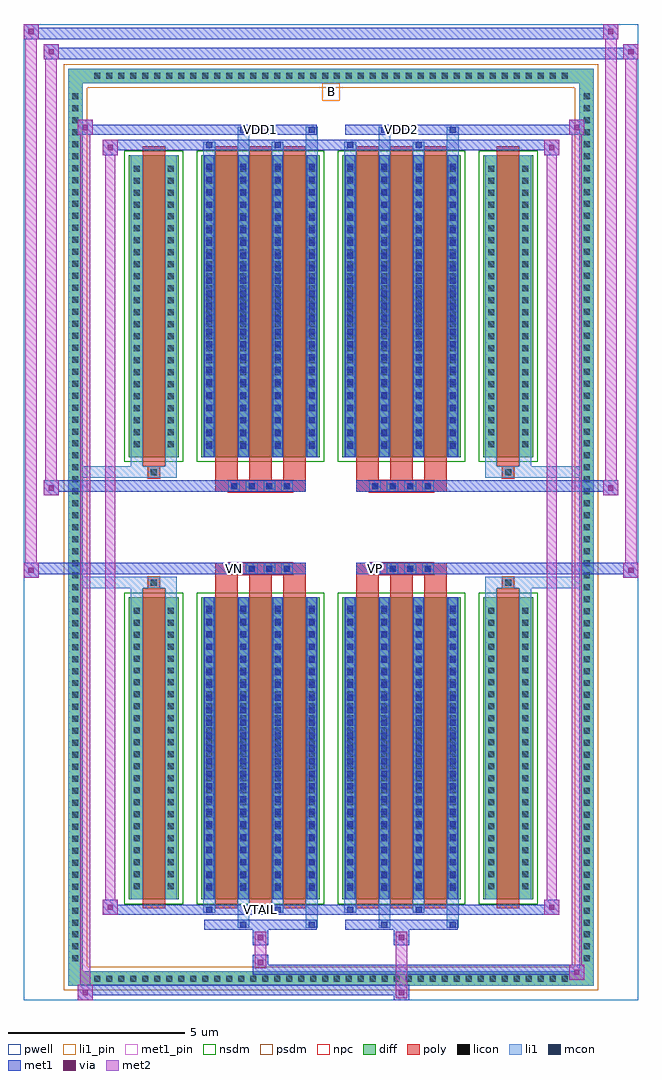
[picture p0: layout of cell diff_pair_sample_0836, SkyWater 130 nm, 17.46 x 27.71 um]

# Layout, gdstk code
import gdstk
lib = gdstk.Library(unit=1e-6, precision=5e-09)
def R(c, l, rs):  # rectangles x0, y0, x1, y1
    for r in rs: c.add(gdstk.rectangle(r[:2], r[2:], *l))
def A(c, l, x, y, w, h, nx, ny, dx, dy):  # array of equal rectangles
    R(c, l, [(x+i*dx, y+j*dy, x+i*dx+w, y+j*dy+h) for i in range(nx) for j in range(ny)])
def P(c, l, *ps):  # polygons
    for p in ps: c.add(gdstk.Polygon(p, *l))
pwell = (64, 44)
diff = (65, 20)
poly = (66, 20)
licon = (66, 44)
li1_pin = (67, 16)
li1 = (67, 20)
mcon = (67, 44)
met1_pin = (68, 16)
met1 = (68, 20)
via = (68, 44)
met2 = (69, 20)
nsdm = (93, 44)
psdm = (94, 20)
npc = (95, 20)

diff_pair_sample_0836 = lib.new_cell('diff_pair_sample_0836')
R(diff_pair_sample_0836, pwell, [(-8.73,-13.42,8.73,14.29), (-6.05,-11.61,-0.01,-0.805), (0.01,-11.61,6.05,-0.805), (-6.05,0.805,-0.01,11.61), (0.01,0.805,6.05,11.61)])
A(diff_pair_sample_0836, diff, -6.835, -13.02, 0.41, 0.41, 40, 2, 0.34, 25.63)
A(diff_pair_sample_0836, diff, -7.46, -12.445, 0.41, 0.41, 1, 73, 0, 0.34)
A(diff_pair_sample_0836, diff, 7.05, -12.445, 0.41, 0.41, 1, 73, 0, 0.34)
R(diff_pair_sample_0836, diff, [(-6.835,-13.02,6.835,-12.61), (-7.46,-12.445,-7.05,12.445), (7.05,-12.445,7.46,12.445), (-5.74,-10.565,-4.32,-1.985), (-3.68,-10.565,-0.32,-1.985), (0.32,-10.565,3.68,-1.985), (4.32,-10.565,5.74,-1.985), (-5.74,1.985,-4.32,10.565), (-3.68,1.985,-0.32,10.565), (0.32,1.985,3.68,10.565), (4.32,1.985,5.74,10.565), (-6.835,12.61,6.835,13.02)])
P(diff_pair_sample_0836, diff, [(7.46,13.02),(-7.46,13.02),(-7.46,-12.61),(-7.05,-12.61),(-7.05,12.61),(7.05,12.61),(7.05,-12.61),(-7.05,-12.61),(-7.46,-12.61),(-7.46,-13.02),(7.46,-13.02)])
A(diff_pair_sample_0836, poly, -3.29, -10.815, 0.64, 9.08, 3, 2, 0.97, 12.55)
A(diff_pair_sample_0836, poly, 0.71, -10.815, 0.64, 9.08, 3, 2, 0.97, 12.55)
A(diff_pair_sample_0836, poly, -3.29, -1.735, 0.64, 0.4, 3, 2, 0.97, 3.07)
A(diff_pair_sample_0836, poly, 0.71, -1.735, 0.64, 0.4, 3, 2, 0.97, 3.07)
A(diff_pair_sample_0836, poly, -2.915, -1.335, 0.33, 0.33, 4, 2, 0.5, 2.34)
A(diff_pair_sample_0836, poly, 1.085, -1.335, 0.33, 0.33, 4, 2, 0.5, 2.34)
R(diff_pair_sample_0836, poly, [(-5.35,-10.815,-4.71,-1.735), (4.71,-10.815,5.35,-1.735), (-5.195,-1.735,-4.865,-1.405), (-5.195,-1.735,-4.865,-1.405), (4.865,-1.735,5.195,-1.405), (4.865,-1.735,5.195,-1.405), (-3.29,-1.335,-0.71,-1.005), (0.71,-1.335,3.29,-1.005), (-3.29,1.005,-0.71,1.335), (0.71,1.005,3.29,1.335), (-5.195,1.405,-4.865,1.735), (-5.195,1.405,-4.865,1.735), (4.865,1.405,5.195,1.735), (4.865,1.405,5.195,1.735), (-5.35,1.735,-4.71,10.815), (4.71,1.735,5.35,10.815)])
A(diff_pair_sample_0836, licon, -6.715, -12.9, 0.17, 0.17, 40, 2, 0.34, 25.63)
A(diff_pair_sample_0836, licon, -7.34, -12.325, 0.17, 0.17, 1, 73, 0, 0.34)
A(diff_pair_sample_0836, licon, 7.17, -12.325, 0.17, 0.17, 1, 73, 0, 0.34)
A(diff_pair_sample_0836, licon, -5.6, -10.27, 0.17, 0.17, 1, 24, 0, 0.34)
A(diff_pair_sample_0836, licon, -4.63, -10.27, 0.17, 0.17, 1, 24, 0, 0.34)
A(diff_pair_sample_0836, licon, -3.54, -10.27, 0.17, 0.17, 4, 24, 0.97, 0.34)
A(diff_pair_sample_0836, licon, 0.46, -10.27, 0.17, 0.17, 4, 24, 0.97, 0.34)
A(diff_pair_sample_0836, licon, 4.46, -10.27, 0.17, 0.17, 1, 24, 0, 0.34)
A(diff_pair_sample_0836, licon, 5.43, -10.27, 0.17, 0.17, 1, 24, 0, 0.34)
A(diff_pair_sample_0836, licon, -2.835, -1.255, 0.17, 0.17, 4, 2, 0.5, 2.34)
A(diff_pair_sample_0836, licon, 1.165, -1.255, 0.17, 0.17, 4, 2, 0.5, 2.34)
A(diff_pair_sample_0836, licon, -5.6, 2.28, 0.17, 0.17, 1, 24, 0, 0.34)
A(diff_pair_sample_0836, licon, -4.63, 2.28, 0.17, 0.17, 1, 24, 0, 0.34)
A(diff_pair_sample_0836, licon, -3.54, 2.28, 0.17, 0.17, 4, 24, 0.97, 0.34)
A(diff_pair_sample_0836, licon, 0.46, 2.28, 0.17, 0.17, 4, 24, 0.97, 0.34)
A(diff_pair_sample_0836, licon, 4.46, 2.28, 0.17, 0.17, 1, 24, 0, 0.34)
A(diff_pair_sample_0836, licon, 5.43, 2.28, 0.17, 0.17, 1, 24, 0, 0.34)
R(diff_pair_sample_0836, licon, [(-5.115,-1.655,-4.945,-1.485), (4.945,-1.655,5.115,-1.485), (-5.115,1.485,-4.945,1.655), (4.945,1.485,5.115,1.655)])
R(diff_pair_sample_0836, li1_pin, [(-0.25,12.11,0.25,12.61)])
A(diff_pair_sample_0836, li1, -6.795, -12.98, 0.33, 0.33, 40, 2, 0.34, 25.63)
A(diff_pair_sample_0836, li1, -7.42, -12.405, 0.33, 0.33, 1, 73, 0, 0.34)
A(diff_pair_sample_0836, li1, 7.09, -12.405, 0.33, 0.33, 1, 73, 0, 0.34)
A(diff_pair_sample_0836, li1, -3.62, -10.565, 0.33, 8.58, 4, 2, 0.97, 12.55)
A(diff_pair_sample_0836, li1, 0.38, -10.565, 0.33, 8.58, 4, 2, 0.97, 12.55)
A(diff_pair_sample_0836, li1, -5.68, -10.35, 0.33, 0.33, 1, 24, 0, 0.34)
A(diff_pair_sample_0836, li1, -4.71, -10.35, 0.33, 0.33, 1, 24, 0, 0.34)
A(diff_pair_sample_0836, li1, -3.62, -10.35, 0.33, 0.33, 4, 24, 0.97, 0.34)
A(diff_pair_sample_0836, li1, 0.38, -10.35, 0.33, 0.33, 4, 24, 0.97, 0.34)
A(diff_pair_sample_0836, li1, 4.38, -10.35, 0.33, 0.33, 1, 24, 0, 0.34)
A(diff_pair_sample_0836, li1, 5.35, -10.35, 0.33, 0.33, 1, 24, 0, 0.34)
A(diff_pair_sample_0836, li1, -3.54, -10.32, 0.17, 0.17, 4, 23, 0.97, 0.36)
A(diff_pair_sample_0836, li1, -3.54, -10.32, 0.17, 8.09, 4, 2, 0.97, 12.55)
A(diff_pair_sample_0836, li1, 0.46, -10.32, 0.17, 0.17, 4, 23, 0.97, 0.36)
A(diff_pair_sample_0836, li1, 0.46, -10.32, 0.17, 8.09, 4, 2, 0.97, 12.55)
A(diff_pair_sample_0836, li1, -2.915, -1.335, 0.33, 0.33, 4, 2, 0.5, 2.34)
A(diff_pair_sample_0836, li1, 1.085, -1.335, 0.33, 0.33, 4, 2, 0.5, 2.34)
A(diff_pair_sample_0836, li1, -5.68, 2.2, 0.33, 0.33, 1, 24, 0, 0.34)
A(diff_pair_sample_0836, li1, -4.71, 2.2, 0.33, 0.33, 1, 24, 0, 0.34)
A(diff_pair_sample_0836, li1, -3.62, 2.2, 0.33, 0.33, 4, 24, 0.97, 0.34)
A(diff_pair_sample_0836, li1, 0.38, 2.2, 0.33, 0.33, 4, 24, 0.97, 0.34)
A(diff_pair_sample_0836, li1, 4.38, 2.2, 0.33, 0.33, 1, 24, 0, 0.34)
A(diff_pair_sample_0836, li1, 5.35, 2.2, 0.33, 0.33, 1, 24, 0, 0.34)
A(diff_pair_sample_0836, li1, -3.54, 2.23, 0.17, 0.17, 4, 23, 0.97, 0.36)
A(diff_pair_sample_0836, li1, 0.46, 2.23, 0.17, 0.17, 4, 23, 0.97, 0.36)
R(diff_pair_sample_0836, li1, [(-7.46,-13.02,-7.05,-12.61), (-7.46,-13.02,-7.05,-12.61), (-7.05,-13.02,7.05,-12.61), (7.05,-13.02,7.46,-12.61), (7.05,-13.02,7.46,-12.61), (-7.46,-12.61,-7.05,12.61), (7.05,-12.61,7.46,12.61), (-2.65,-11.37,-2.32,-10.565), (-2.57,-11.37,-2.4,-11.2), (-0.71,-11.37,-0.38,-10.565), (-0.63,-11.37,-0.46,-11.2), (1.35,-11.37,1.68,-10.565), (1.43,-11.37,1.6,-11.2), (3.29,-11.37,3.62,-10.565), (3.37,-11.37,3.54,-11.2), (-3.62,-10.94,-3.29,-10.565), (-3.54,-10.94,-3.37,-10.77), (-1.68,-10.94,-1.35,-10.565), (-1.6,-10.94,-1.43,-10.77), (0.38,-10.94,0.71,-10.565), (0.46,-10.94,0.63,-10.77), (2.32,-10.94,2.65,-10.565), (2.4,-10.94,2.57,-10.77), (-5.68,-10.565,-5.35,-1.985), (-4.71,-10.565,-4.38,-1.985), (4.38,-10.565,4.71,-1.985), (5.35,-10.565,5.68,-1.985), (-5.68,-1.985,-5.35,-1.405), (-4.71,-1.985,-4.38,-1.405), (4.38,-1.985,4.71,-1.405), (5.35,-1.985,5.68,-1.405), (-7.46,-1.735,-5.195,-1.405), (-5.68,-1.735,-5.195,-1.405), (-5.195,-1.735,-4.865,-1.405), (-4.865,-1.735,-4.38,-1.405), (4.38,-1.735,4.865,-1.405), (4.865,-1.735,5.195,-1.405), (4.865,-1.735,7.46,-1.405), (5.195,-1.735,5.68,-1.405), (-7.46,1.405,-5.195,1.735), (-5.68,1.405,-5.195,1.735), (-5.68,1.405,-5.35,1.985), (-5.195,1.405,-4.865,1.735), (-4.865,1.405,-4.38,1.735), (-4.71,1.405,-4.38,1.985), (4.38,1.405,4.865,1.735), (4.38,1.405,4.71,1.985), (4.865,1.405,5.195,1.735), (4.865,1.405,7.46,1.735), (5.195,1.405,5.68,1.735), (5.35,1.405,5.68,1.985), (-5.68,1.985,-5.35,10.565), (-4.71,1.985,-4.38,10.565), (4.38,1.985,4.71,10.565), (5.35,1.985,5.68,10.565), (-3.62,10.565,-3.29,10.94), (-2.65,10.565,-2.32,11.37), (-1.68,10.565,-1.35,10.94), (-0.71,10.565,-0.38,11.37), (0.38,10.565,0.71,10.94), (1.35,10.565,1.68,11.37), (2.32,10.565,2.65,10.94), (3.29,10.565,3.62,11.37), (-3.54,10.77,-3.37,10.94), (-1.6,10.77,-1.43,10.94), (0.46,10.77,0.63,10.94), (2.4,10.77,2.57,10.94), (-2.57,11.2,-2.4,11.37), (-0.63,11.2,-0.46,11.37), (1.43,11.2,1.6,11.37), (3.37,11.2,3.54,11.37), (-7.46,12.61,-7.05,13.02), (-7.46,12.61,-7.05,13.02), (-7.05,12.61,7.05,13.02), (7.05,12.61,7.46,13.02), (7.05,12.61,7.46,13.02)])
A(diff_pair_sample_0836, mcon, -3.54, -10.32, 0.17, 0.17, 4, 23, 0.97, 0.36)
A(diff_pair_sample_0836, mcon, 0.46, -10.32, 0.17, 0.17, 4, 23, 0.97, 0.36)
A(diff_pair_sample_0836, mcon, -2.835, -1.255, 0.17, 0.17, 4, 2, 0.5, 2.34)
A(diff_pair_sample_0836, mcon, 1.165, -1.255, 0.17, 0.17, 4, 2, 0.5, 2.34)
A(diff_pair_sample_0836, mcon, -3.54, 2.23, 0.17, 0.17, 4, 23, 0.97, 0.36)
A(diff_pair_sample_0836, mcon, 0.46, 2.23, 0.17, 0.17, 4, 23, 0.97, 0.36)
R(diff_pair_sample_0836, mcon, [(-2.57,-11.37,-2.4,-11.2), (-0.63,-11.37,-0.46,-11.2), (1.43,-11.37,1.6,-11.2), (3.37,-11.37,3.54,-11.2), (-3.54,-10.94,-3.37,-10.77), (-1.6,-10.94,-1.43,-10.77), (0.46,-10.94,0.63,-10.77), (2.4,-10.94,2.57,-10.77), (-3.54,10.77,-3.37,10.94), (-1.6,10.77,-1.43,10.94), (0.46,10.77,0.63,10.94), (2.4,10.77,2.57,10.94), (-2.57,11.2,-2.4,11.37), (-0.63,11.2,-0.46,11.37), (1.43,11.2,1.6,11.37), (3.37,11.2,3.54,11.37)])
R(diff_pair_sample_0836, met1_pin, [(-2.135,-10.98,-1.865,-10.71), (-2.885,-1.295,-2.615,-1.025), (1.115,-1.295,1.385,-1.025), (-2.135,11.16,-1.865,11.43), (1.865,11.16,2.135,11.43)])
A(diff_pair_sample_0836, met1, -3.6, -10.565, 0.29, 8.58, 4, 2, 0.97, 12.55)
A(diff_pair_sample_0836, met1, 0.4, -10.565, 0.29, 8.58, 4, 2, 0.97, 12.55)
A(diff_pair_sample_0836, met1, -3.6, -10.38, 0.29, 0.29, 4, 23, 0.97, 0.36)
A(diff_pair_sample_0836, met1, 0.4, -10.38, 0.29, 0.29, 4, 23, 0.97, 0.36)
A(diff_pair_sample_0836, met1, -2.895, -1.315, 0.29, 0.29, 4, 2, 0.5, 2.34)
A(diff_pair_sample_0836, met1, 1.105, -1.315, 0.29, 0.29, 4, 2, 0.5, 2.34)
A(diff_pair_sample_0836, met1, -3.6, 2.17, 0.29, 0.29, 4, 23, 0.97, 0.36)
A(diff_pair_sample_0836, met1, 0.4, 2.17, 0.29, 0.29, 4, 23, 0.97, 0.36)
R(diff_pair_sample_0836, met1, [(-7.19,-13.42,-6.76,-12.99), (1.785,-13.42,2.215,-12.99), (-7.19,-13.28,2.215,-12.99), (6.76,-12.85,7.19,-12.42), (-2.215,-12.71,7.19,-12.42), (-2.215,-12.57,-1.785,-12.14), (-2.215,-11.86,-1.785,-11.43), (1.785,-11.86,2.215,-11.43), (-3.6,-11.43,-0.4,-11.14), (-2.63,-11.43,-2.34,-11.14), (-0.69,-11.43,-0.4,-11.14), (0.4,-11.43,3.6,-11.14), (1.37,-11.43,1.66,-11.14), (3.31,-11.43,3.6,-11.14), (-6.48,-11,-6.05,-10.57), (-6.48,-11,-3.6,-10.71), (-3.6,-11,-3.31,-10.71), (-3.6,-11,-0.4,-10.71), (-1.66,-11,-1.37,-10.71), (-0.4,-11,0.4,-10.71), (0.4,-11,0.69,-10.71), (0.4,-11,3.6,-10.71), (2.34,-11,2.63,-10.71), (3.6,-11,6.48,-10.71), (6.05,-11,6.48,-10.57), (-8.73,-1.435,-8.3,-1.005), (8.3,-1.435,8.73,-1.005), (-8.73,-1.335,-0.71,-1.005), (-3.29,-1.335,-0.71,-1.005), (0.71,-1.335,3.29,-1.005), (0.71,-1.335,8.73,-1.005), (-8.16,0.905,-7.73,1.335), (7.73,0.905,8.16,1.335), (-8.16,1.005,-3.29,1.335), (-3.29,1.005,-0.71,1.335), (0.71,1.005,3.29,1.335), (3.29,1.005,8.16,1.335), (-6.48,10.57,-6.05,11), (6.05,10.57,6.48,11), (-6.48,10.71,-3.6,11), (-3.6,10.71,-3.31,11), (-3.6,10.71,-0.4,11), (-1.66,10.71,-1.37,11), (-0.4,10.71,0.4,11), (0.4,10.71,0.69,11), (0.4,10.71,3.6,11), (2.34,10.71,2.63,11), (3.6,10.71,6.48,11), (-7.19,11.14,-6.76,11.57), (-7.19,11.14,-3.6,11.43), (-3.6,11.14,-0.4,11.43), (-2.63,11.14,-2.34,11.43), (-0.69,11.14,-0.4,11.43), (0.4,11.14,3.6,11.43), (1.37,11.14,1.66,11.43), (3.31,11.14,3.6,11.43), (3.6,11.14,7.19,11.43), (6.76,11.14,7.19,11.57), (-8.16,13.29,-7.73,13.72), (-8.16,13.29,-6.05,13.62), (-6.05,13.29,6.05,13.62), (6.05,13.29,8.73,13.62), (8.3,13.29,8.73,13.72), (-8.73,13.86,-8.3,14.29), (-8.73,13.86,-6.05,14.19), (-6.05,13.86,6.05,14.19), (6.05,13.86,8.16,14.19), (7.73,13.86,8.16,14.29)])
R(diff_pair_sample_0836, via, [(-7.05,-13.28,-6.9,-13.13), (1.925,-13.28,2.075,-13.13), (6.9,-12.71,7.05,-12.56), (-2.075,-12.43,-1.925,-12.28), (-2.075,-11.72,-1.925,-11.57), (1.925,-11.72,2.075,-11.57), (-6.34,-10.86,-6.19,-10.71), (6.19,-10.86,6.34,-10.71), (-8.59,-1.295,-8.44,-1.145), (8.44,-1.295,8.59,-1.145), (-8.02,1.045,-7.87,1.195), (7.87,1.045,8.02,1.195), (-6.34,10.71,-6.19,10.86), (6.19,10.71,6.34,10.86), (-7.05,11.28,-6.9,11.43), (6.9,11.28,7.05,11.43), (-8.02,13.43,-7.87,13.58), (8.44,13.43,8.59,13.58), (-8.59,14,-8.44,14.15), (7.87,14,8.02,14.15)])
R(diff_pair_sample_0836, met2, [(-7.19,-13.42,-6.76,-12.99), (-7.12,-13.42,-6.83,11.57), (-6.83,-13.42,-6.76,-12.99), (-7.14,-13.37,-6.81,-13.04), (1.835,-13.37,2.165,-13.04), (1.835,-13.04,2.165,-11.81), (6.76,-12.85,7.19,-12.42), (6.83,-12.85,7.12,11.57), (7.12,-12.85,7.19,-12.42), (6.81,-12.8,7.14,-12.47), (-2.165,-12.52,-1.835,-12.19), (-2.165,-12.19,-1.835,-11.81), (-2.165,-11.81,-1.835,-11.48), (1.835,-11.81,2.165,-11.48), (-6.48,-11,-6.05,-10.57), (-6.41,-11,-6.12,11), (-6.12,-11,-6.05,-10.57), (6.05,-11,6.48,-10.57), (6.12,-11,6.41,11), (6.41,-11,6.48,-10.57), (-6.43,-10.95,-6.1,-10.62), (6.1,-10.95,6.43,-10.62), (-8.73,-1.435,-8.3,-1.005), (-8.68,-1.435,-8.35,14.29), (-8.35,-1.435,-8.3,-1.005), (8.3,-1.435,8.73,-1.005), (8.35,-1.435,8.68,13.72), (8.68,-1.435,8.73,-1.005), (-8.68,-1.385,-8.35,-1.055), (8.35,-1.385,8.68,-1.055), (-8.16,0.905,-7.73,1.335), (-8.11,0.905,-7.78,13.72), (-7.78,0.905,-7.73,1.335), (7.73,0.905,8.16,1.335), (7.78,0.905,8.11,14.29), (8.11,0.905,8.16,1.335), (-8.11,0.955,-7.78,1.285), (7.78,0.955,8.11,1.285), (-6.48,10.57,-6.05,11), (-6.12,10.57,-6.05,11), (6.05,10.57,6.48,11), (6.41,10.57,6.48,11), (-6.43,10.62,-6.1,10.95), (6.1,10.62,6.43,10.95), (-7.19,11.14,-6.76,11.57), (-6.83,11.14,-6.76,11.57), (6.76,11.14,7.19,11.57), (7.12,11.14,7.19,11.57), (-7.14,11.19,-6.81,11.52), (6.81,11.19,7.14,11.52), (-8.16,13.29,-7.73,13.72), (-7.78,13.29,-7.73,13.72), (8.3,13.29,8.73,13.72), (8.68,13.29,8.73,13.72), (-8.11,13.34,-7.78,13.67), (8.35,13.34,8.68,13.67), (-8.73,13.86,-8.3,14.29), (-8.35,13.86,-8.3,14.29), (7.73,13.86,8.16,14.29), (8.11,13.86,8.16,14.29), (-8.68,13.91,-8.35,14.24), (7.78,13.91,8.11,14.24)])
R(diff_pair_sample_0836, nsdm, [(-5.87,-10.695,-4.19,-1.855), (-3.81,-10.695,-0.19,-1.855), (0.19,-10.695,3.81,-1.855), (4.19,-10.695,5.87,-1.855), (-5.87,1.855,-4.19,10.695), (-3.81,1.855,-0.19,10.695), (0.19,1.855,3.81,10.695), (4.19,1.855,5.87,10.695)])
P(diff_pair_sample_0836, psdm, [(7.59,13.15),(-7.59,13.15),(-7.59,-12.48),(-6.92,-12.48),(-6.92,12.48),(6.92,12.48),(6.92,-12.48),(-6.92,-12.48),(-7.59,-12.48),(-7.59,-13.15),(7.59,-13.15)])
A(diff_pair_sample_0836, npc, -2.935, -1.355, 0.37, 0.37, 4, 2, 0.5, 2.34)
A(diff_pair_sample_0836, npc, 1.065, -1.355, 0.37, 0.37, 4, 2, 0.5, 2.34)
R(diff_pair_sample_0836, npc, [(-5.215,-1.755,-4.845,-1.385), (4.845,-1.755,5.215,-1.385), (-2.935,-1.355,-2.065,-0.985), (-2.935,-1.355,-2.065,-0.985), (-2.435,-1.355,-1.565,-0.985), (-2.435,-1.355,-1.565,-0.985), (-1.935,-1.355,-1.065,-0.985), (-1.935,-1.355,-1.065,-0.985), (1.065,-1.355,1.935,-0.985), (1.065,-1.355,1.935,-0.985), (1.565,-1.355,2.435,-0.985), (1.565,-1.355,2.435,-0.985), (2.065,-1.355,2.935,-0.985), (2.065,-1.355,2.935,-0.985), (-2.935,0.985,-2.065,1.355), (-2.935,0.985,-2.065,1.355), (-2.435,0.985,-1.565,1.355), (-2.435,0.985,-1.565,1.355), (-1.935,0.985,-1.065,1.355), (-1.935,0.985,-1.065,1.355), (1.065,0.985,1.935,1.355), (1.065,0.985,1.935,1.355), (1.565,0.985,2.435,1.355), (1.565,0.985,2.435,1.355), (2.065,0.985,2.935,1.355), (2.065,0.985,2.935,1.355), (-5.215,1.385,-4.845,1.755), (4.845,1.385,5.215,1.755)])
diff_pair_sample_0836.add(gdstk.Label('VTAIL', (-2,-10.845), layer=68, texttype=5))
diff_pair_sample_0836.add(gdstk.Label('VN', (-2.75,-1.16), layer=68, texttype=5))
diff_pair_sample_0836.add(gdstk.Label('VP', (1.25,-1.16), layer=68, texttype=5))
diff_pair_sample_0836.add(gdstk.Label('B', (0,12.36), layer=67, texttype=5))
diff_pair_sample_0836.add(gdstk.Label('VDD2', (2,11.295), layer=68, texttype=5))
diff_pair_sample_0836.add(gdstk.Label('VDD1', (-2,11.295), layer=68, texttype=5))

lib.write_gds('diff_pair_sample_0836.gds')
